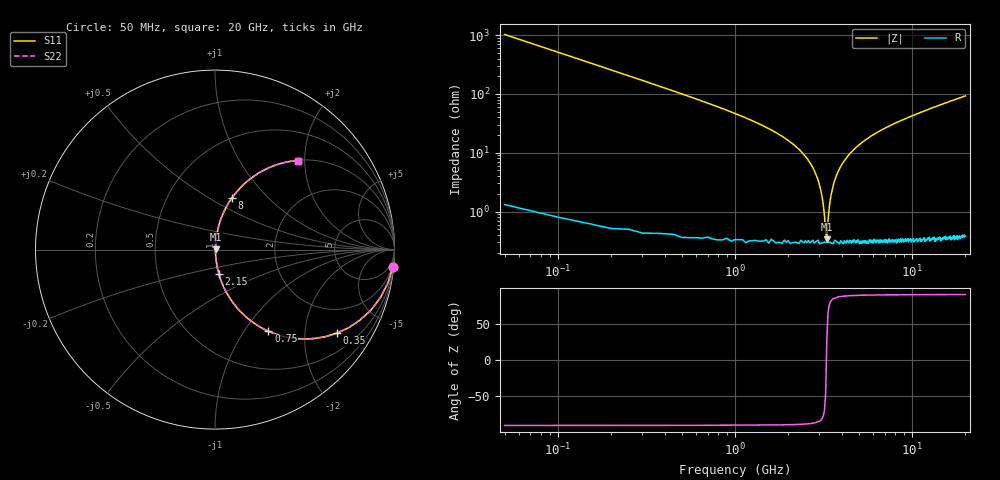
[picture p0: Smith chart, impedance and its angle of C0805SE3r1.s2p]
! AVX Thin Film Operation		Date: April 2012
! Description: Accu-P® Series, Thin Film, SMD, RF Capacitor
! Part Number: 08051J3R1ABTTR
!	100	MHz	-	20.05	GHz
!	Serial	Measurements
#	MHZ	S	MA	R	50
!	S11	S21	S12	S22
!	dB	Phase	dB	Phase	dB	Phase	dB	Phase
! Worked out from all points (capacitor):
!   400 points, 50 MHz to 20 GHz, reference 50 ohm
!   read as one part in series: C = 3.1 pF near 150 MHz
!   lowest |Z| = 339 mohm at 3.3 GHz (marker M1)
!   series resonance near 3.284 GHz, so ESL is about 760 pH
!   S11 on the Smith chart (normalised r, x): 50 MHz: 1, -21; 350 MHz: 1.01, -2.90; 750 MHz: 1.01, -1.30; 2.15 GHz: 1.01, -0.27; 8 GHz: 1.01, +0.63; 20 GHz: 1.01, +1.85
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50  0.995 -5.6  0.097 84.4  0.097 84.4  0.995 -5.6
150  0.959 -16.3  0.281 73.6  0.281 73.6  0.959 -16.3
350  0.822 -34.5  0.567 55.3  0.567 55.3  0.822 -34.5
750  0.543 -56.8  0.837 32.9  0.837 32.9  0.543 -56.8
1250  0.33 -70.2  0.941 19.3  0.941 19.3  0.33 -70.2
2150  0.135 -81.0  0.988 7.7  0.988 7.7  0.135 -81.0
2550  0.08 -83.2  0.994 4.6  0.994 4.6  0.08 -83.2
2950  0.034 -82.9  0.996 1.9  0.996 1.9  0.034 -82.9
3150  0.013 -76.0  0.997 0.7  0.997 0.7  0.013 -76.0
3250  0.004456 -46.6  0.997 0.2  0.997 0.2  0.004456 -46.6
3300  0.003406 26.3  0.997 -0.1  0.997 -0.1  0.003406 26.3
3400  0.011 73.6  0.997 -0.6  0.997 -0.6  0.011 73.6
3500  0.02 80.1  0.997 -1.1  0.997 -1.1  0.02 80.1
3750  0.042 83.4  0.996 -2.4  0.996 -2.4  0.042 83.4
4300  0.085 83.1  0.993 -4.9  0.993 -4.9  0.085 83.1
5150  0.144 80.5  0.987 -8.3  0.987 -8.3  0.144 80.5
6700  0.235 75.7  0.969 -13.6  0.969 -13.6  0.235 75.7
8000  0.301 71.9  0.951 -17.5  0.951 -17.5  0.301 71.9
10050  0.392 66.5  0.917 -23.1  0.917 -23.1  0.392 66.5
13350  0.511 58.9  0.856 -30.8  0.856 -30.8  0.511 58.9
16700  0.606 52.4  0.793 -37.3  0.793 -37.3  0.606 52.4
20000  0.678 47.1  0.732 -42.7  0.732 -42.7  0.678 47.1
